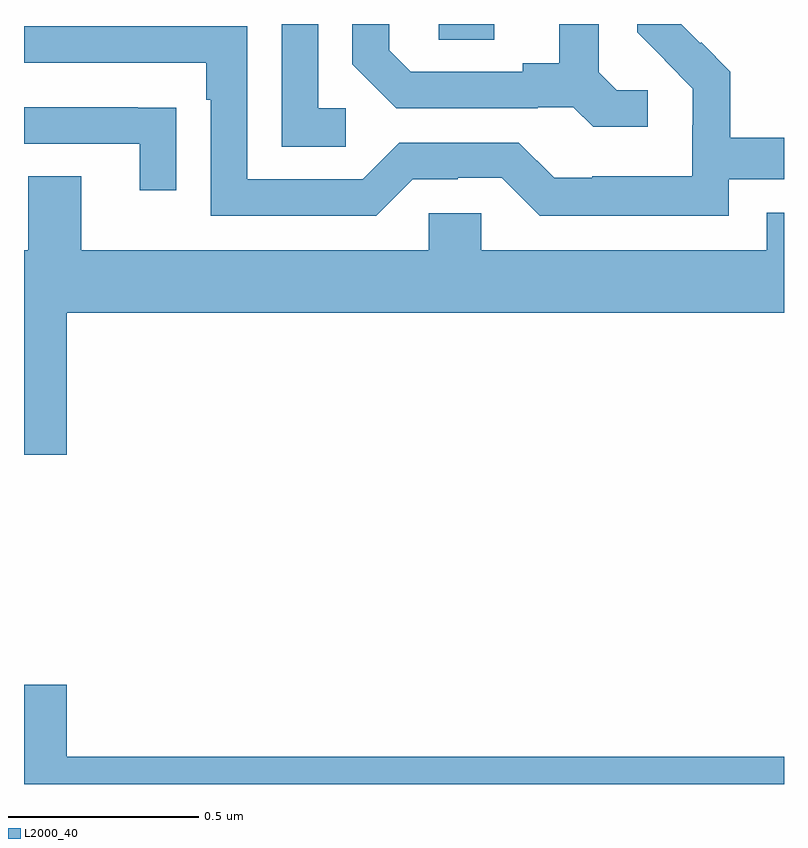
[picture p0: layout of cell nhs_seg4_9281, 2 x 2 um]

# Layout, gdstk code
import gdstk
lib = gdstk.Library(unit=1e-6, precision=1e-09)
def R(c, l, rs):  # rectangles x0, y0, x1, y1
    for r in rs: c.add(gdstk.rectangle(r[:2], r[2:], *l))
def P(c, l, *ps):  # polygons
    for p in ps: c.add(gdstk.Polygon(p, *l))
L2000_40 = (2000, 40)

nhs_seg4_9281 = lib.new_cell('nhs_seg4_9281')
R(nhs_seg4_9281, L2000_40, [(226.092,810.859,226.237,810.9)])
P(nhs_seg4_9281, L2000_40, [(226.854,810.492),(227,810.492),(227,810.601),(226.859,810.601),(226.859,810.775),(226.782,810.852),(226.779,810.849),(226.729,810.9),(226.614,810.9),(226.614,810.878),(226.687,810.805),(226.686,810.804),(226.76,810.73),(226.76,810.633),(226.758,810.633),(226.758,810.499),(226.495,810.499),(226.495,810.495),(226.395,810.495),(226.302,810.588),(225.987,810.588),(225.891,810.492),(225.588,810.492),(225.588,810.894),(225,810.894),(225,810.798),(225.479,810.798),(225.479,810.701),(225.492,810.701),(225.492,810.396),(225.927,810.396),(226.023,810.492),(226.142,810.492),(226.142,810.495),(226.257,810.495),(226.357,810.395),(226.854,810.395)],
  [(225.847,810.678),(225.774,810.678),(225.774,810.9),(225.678,810.9),(225.678,810.577),(225.847,810.577)],
  [(226.642,810.726),(226.56,810.726),(226.513,810.773),(226.513,810.9),(226.409,810.9),(226.409,810.797),(226.313,810.797),(226.313,810.774),(226.018,810.774),(225.961,810.831),(225.961,810.9),(225.864,810.9),(225.864,810.794),(225.98,810.678),(226.352,810.678),(226.352,810.681),(226.446,810.681),(226.498,810.629),(226.642,810.629)],
  [(225.401,810.68),(225.299,810.68),(225.299,810.681),(225,810.681),(225,810.585),(225.305,810.585),(225.305,810.462),(225.401,810.462)],
  [(225.112,810.14),(227,810.14),(227,810.403),(226.955,810.403),(226.955,810.304),(226.203,810.304),(226.203,810.402),(226.065,810.402),(226.065,810.304),(225.151,810.304),(225.151,810.499),(225.011,810.499),(225.011,810.304),(225,810.304),(225,809.766),(225.112,809.766)],
  [(227,808.972),(225.112,808.972),(225.112,809.161),(225,809.161),(225,808.9),(227,808.9)])

lib.write_gds('nhs_seg4_9281.gds')
